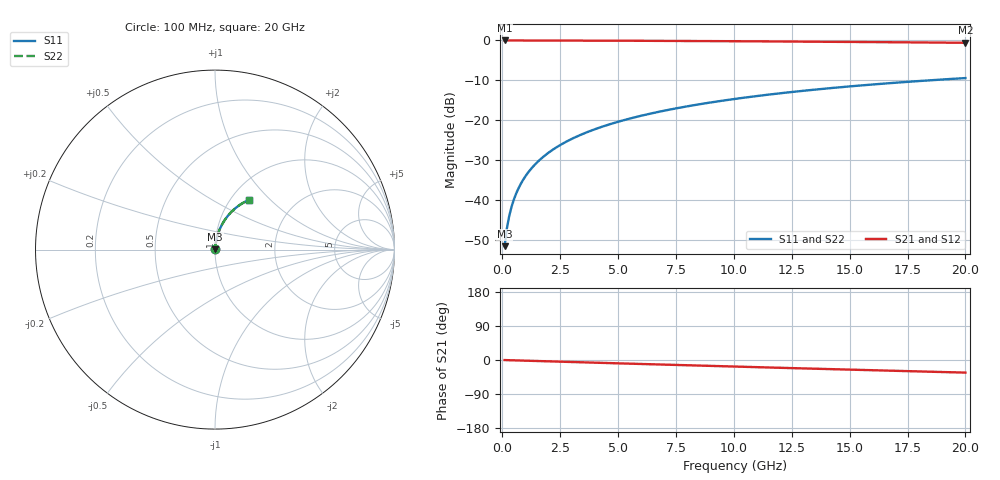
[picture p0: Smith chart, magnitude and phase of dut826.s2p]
! Touchstone file exported from HFSS 2026.1.0
!  File:  C:/ffzhzh/LocalFiles/Ansys_Project_Files/temp_train_BSMRDL_826_1783170149_51560.aedt
!  Generated:  09:03:44 PM Jul  4, 2026
!  Design:  BSMRDL
!  Project:  temp_train_BSMRDL_826_1783170149_51560
! Variables:
!  h_bsmrdl = 5.33um
!  h_ox = 20um
!  h_rdl = 5um
!  h_sub = 80um
!  h_tmrdl = 5um
!  h_tsv = 80um
!  h_via = 3um
!  l_bsmrdl = 450.88um
!  l_sub = 850.88um
!  l_tmrdl = 200um
!  m_sub = 200um
!  pitch = 53.93um
!  r_tsv = 6um
!  s_tmrdl = 10um
!  w_bsmrdl = 20.4um
!  w_sub = 500um
!  w_tmrdl = 12um
!  x_tsv_center1 = 206um
!  x_tsv_center2 = 677.28um
!  x_tsv_center3 = 889.28um
!  x_tsv_center4 = 1360.56um
!  x_tsv_center5 = 1572.56um
!  x_tsv_center6 = 2043.84um
# GHz S MA R 50.000000
! Terminal data exported
! Port[1] = BSM_RDL1_1_T1
! Port[2] = BSM_RDL1_1_T2
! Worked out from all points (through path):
!   200 points, 100 MHz to 20 GHz, reference 50 ohm
!   highest |S21| = -0.01 dB at 100 MHz (marker M1); lowest = -0.6 dB at 20 GHz (marker M2)
!   group delay of S21, straight-line fit = 4.62 ps
!   lowest |S11| = -51.6 dB at 100 MHz (marker M3), VSWR 1.01, Z = 50.2 + j0.208 ohm
!   |S11| at or under -10 dB: start of sweep to 18.48 GHz
!   |S22| runs from -51.6 to -9.4 dB; largest |S21 - S12| = 4e-15
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0.1  0.00263 52.1  0.9984 -0.2  0.9984 -0.2  0.00263 52.1
! Gamma 0 0 0 0
! Port Impedance 50 0 50 0
0.2  0.004427 67.1  0.9983 -0.4  0.9983 -0.4  0.004427 67.1
0.3  0.006305 73.2  0.9982 -0.5  0.9982 -0.5  0.006305 73.2
0.4  0.008205 76.5  0.9981 -0.7  0.9981 -0.7  0.008205 76.5
0.5  0.01012 78.5  0.9981 -0.9  0.9981 -0.9  0.01012 78.5
0.7  0.01398 80.8  0.998 -1.3  0.998 -1.3  0.01398 80.8
0.8  0.01592 81.5  0.9979 -1.4  0.9979 -1.4  0.01592 81.5
1  0.0198 82.3  0.9978 -1.8  0.9978 -1.8  0.0198 82.3
1.2  0.02368 82.8  0.9976 -2.2  0.9976 -2.2  0.02368 82.8
1.4  0.02756 82.9  0.9974 -2.5  0.9974 -2.5  0.02756 82.9
1.7  0.03337 83.0  0.9971 -3.0  0.9971 -3.0  0.03337 83.0
2  0.03915 82.8  0.9968 -3.6  0.9968 -3.6  0.03915 82.8
2.7  0.05253 82.1  0.9957 -4.8  0.9957 -4.8  0.05253 82.1
3.5  0.06763 81.0  0.9944 -6.2  0.9944 -6.2  0.06763 81.0
4.2  0.08068 79.9  0.993 -7.4  0.993 -7.4  0.08068 79.9
5  0.09543 78.7  0.9913 -8.8  0.9913 -8.8  0.09543 78.7
6.8  0.128 75.9  0.9868 -11.9  0.9868 -11.9  0.128 75.9
8.3  0.1545 73.5  0.9824 -14.4  0.9824 -14.4  0.1545 73.5
10.1  0.1856 70.7  0.9765 -17.5  0.9765 -17.5  0.1856 70.7
13.4  0.2399 65.5  0.9639 -22.9  0.9639 -22.9  0.2399 65.5
16.7  0.2906 60.4  0.9493 -28.2  0.9493 -28.2  0.2906 60.4
20  0.3371 55.4  0.9335 -33.3  0.9335 -33.3  0.3371 55.4
